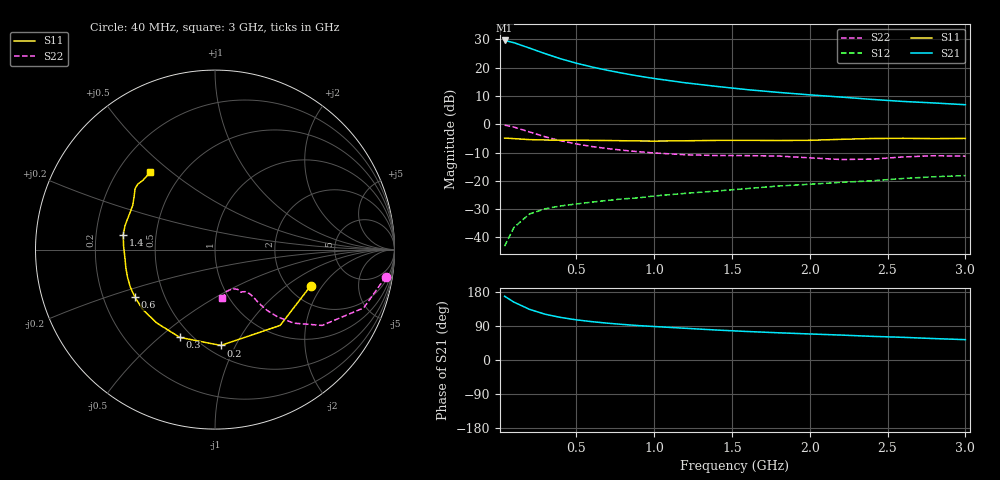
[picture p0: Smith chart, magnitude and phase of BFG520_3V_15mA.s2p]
! Filename:  BFG520D.S2P  Version:  2.1
! Philips part #: BFG520  Date: Feb 1992
! Bias condition: Vce=3V, Ic=15mA
! IN LINE PINNING: same data as with cross emitter pinning.
#  MHz  S  MA  R  50
! Freq  S11  S21  S12  S22  !GUM [dB]
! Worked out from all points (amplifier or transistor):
!   21 points, 40 MHz to 3 GHz, reference 50 ohm
!   highest |S21| = 29.6 dB at 40 MHz (marker M1)
!   |S21| within 3 dB of that: start of sweep to 215.3 MHz
!   unconditionally stable (mu >= 1): 1.029 GHz to end of sweep
!   at 300 MHz: K = 0.42, MSG = 27.4 dB, |S12| = -29.9 dB
!   at 1 GHz: K = 0.99, MSG = 20.8 dB, |S12| = -25.4 dB
!   at 3 GHz: K = 1.24, MAG = 9.6 dB, |S12| = -18.1 dB
!   lowest NFmin = 1.30 dB at 500 MHz
!   S11 on the Smith chart (normalised r, x): 40 MHz: 2.61, -1.56; 200 MHz: 0.58, -0.87; 300 MHz: 0.43, -0.59; 600 MHz: 0.34, -0.25; 1.4 GHz: 0.32, +0.07; 3 GHz: 0.34, +0.42
40  0.57 -20.7  30.26 168.2  0.007 80.6  0.964 -9.0
100  0.557 -49.3  27.64 152.7  0.015 71.7  0.89 -21.4
200  0.535 -86.5  22.17 133.7  0.026 58.7  0.731 -35.3
300  0.527 -111.9  17.7 120.8  0.032 52.8  0.601 -43.0
400  0.522 -128.6  14.35 112.3  0.036 50.8  0.511 -47.1
500  0.523 -140.5  12.02 106.0  0.039 49.8  0.449 -49.3
600  0.519 -149.3  10.3 101.2  0.042 50.4  0.404 -50.3
700  0.516 -156.1  8.995 97.2  0.045 51.4  0.372 -50.8
800  0.511 -162.5  7.959 93.8  0.048 52.8  0.347 -51.0
900  0.507 -168.4  7.116 90.8  0.05 54.8  0.327 -51.4
1000  0.504 -173.5  6.441 88.4  0.054 56.2  0.311 -52.0
1200  0.51 177.4  5.404 83.7  0.06 57.9  0.289 -54.2
1400  0.518 170.7  4.671 79.1  0.066 59.6  0.28 -57.0
1600  0.519 165.2  4.085 75.2  0.073 62.1  0.279 -58.4
1800  0.516 158.6  3.653 71.8  0.081 62.6  0.274 -58.9
2000  0.52 151.8  3.308 68.7  0.087 64.3  0.255 -60.3
2200  0.541 146.3  3.024 65.8  0.094 64.3  0.238 -66.3
2400  0.56 142.7  2.747 62.4  0.1 65.9  0.242 -74.5
2600  0.564 139.8  2.528 59.8  0.11 66.1  0.264 -79.5
2800  0.557 135.8  2.377 56.5  0.118 65.0  0.278 -80.4
3000  0.562 130.1  2.212 53.7  0.124 66.2  0.273 -81.2
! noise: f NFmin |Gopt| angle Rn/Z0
500  1.3  0.161  31  0.21
900  1.45  0.155  63  0.2
1000  1.5  0.16  67  0.23
2000  2.05  0.23  165  0.14
